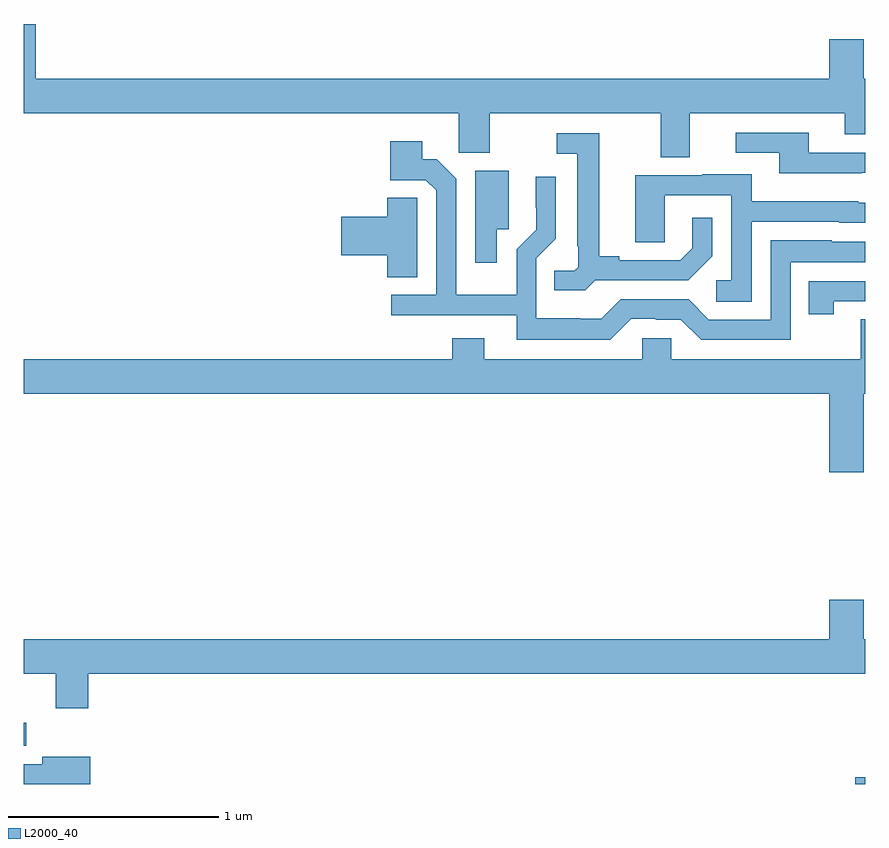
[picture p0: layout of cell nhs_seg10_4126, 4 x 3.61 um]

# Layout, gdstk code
import gdstk
lib = gdstk.Library(unit=1e-6, precision=1e-09)
def R(c, l, rs):  # rectangles x0, y0, x1, y1
    for r in rs: c.add(gdstk.rectangle(r[:2], r[2:], *l))
def P(c, l, *ps):  # polygons
    for p in ps: c.add(gdstk.Polygon(p, *l))
L2000_40 = (2000, 40)

nhs_seg10_4126 = lib.new_cell('nhs_seg10_4126')
R(nhs_seg10_4126, L2000_40, [(344.952,1258.5,345,1258.532), (341,1258.683,341.012,1258.791)])
P(nhs_seg10_4126, L2000_40, [(344.167,1261.688),(344.903,1261.688),(344.903,1261.589),(345,1261.589),(345,1261.852),(344.992,1261.852),(344.992,1262.041),(344.828,1262.041),(344.828,1261.852),(341.057,1261.852),(341.057,1262.113),(341,1262.113),(341,1261.688),(343.068,1261.688),(343.068,1261.501),(343.215,1261.501),(343.215,1261.688),(344.027,1261.688),(344.027,1261.48),(344.167,1261.48)],
  [(344.984,1261.406),(345,1261.406),(345,1261.5),(344.731,1261.5),(344.731,1261.596),(344.385,1261.596),(344.385,1261.5),(344.591,1261.5),(344.591,1261.403),(344.984,1261.403)],
  [(343.716,1260.894),(344.158,1260.894),(344.274,1261.01),(344.274,1261.192),(344.177,1261.192),(344.177,1261.047),(344.12,1260.99),(343.831,1260.99),(343.831,1261.01),(343.735,1261.01),(343.735,1261.593),(343.533,1261.593),(343.533,1261.497),(343.631,1261.497),(343.631,1261.057),(343.635,1261.057),(343.635,1260.957),(343.617,1260.939),(343.522,1260.939),(343.522,1260.847),(343.668,1260.847)],
  [(343.887,1260.711),(344.004,1260.711),(344.004,1260.708),(344.124,1260.708),(344.22,1260.612),(344.646,1260.612),(344.646,1260.981),(345,1260.981),(345,1261.077),(344.841,1261.077),(344.841,1261.084),(344.55,1261.084),(344.55,1260.708),(344.256,1260.708),(344.16,1260.804),(343.839,1260.804),(343.746,1260.711),(343.646,1260.711),(343.646,1260.715),(343.437,1260.715),(343.437,1260.999),(343.53,1261.092),(343.53,1261.387),(343.434,1261.387),(343.434,1261.24),(343.436,1261.24),(343.436,1261.134),(343.344,1261.042),(343.344,1260.826),(343.056,1260.826),(343.056,1261.377),(342.963,1261.47),(342.895,1261.47),(342.895,1261.555),(342.743,1261.555),(342.743,1261.371),(342.912,1261.371),(342.96,1261.323),(342.96,1260.825),(342.747,1260.825),(342.747,1260.729),(343.343,1260.729),(343.343,1260.611),(343.787,1260.611)],
  [(343.249,1261.137),(343.306,1261.137),(343.306,1261.416),(343.145,1261.416),(343.145,1260.978),(343.249,1260.978)],
  [(344.46,1261.173),(344.877,1261.173),(344.877,1261.167),(345,1261.167),(345,1261.263),(344.967,1261.263),(344.967,1261.27),(344.461,1261.27),(344.461,1261.399),(344.225,1261.399),(344.225,1261.395),(343.907,1261.395),(343.907,1261.075),(344.046,1261.075),(344.046,1261.299),(344.364,1261.299),(344.364,1260.894),(344.292,1260.894),(344.292,1260.793),(344.46,1260.793)],
  [(342.871,1261.178),(342.87,1261.178),(342.87,1261.286),(342.728,1261.286),(342.728,1261.196),(342.51,1261.196),(342.51,1261.013),(342.728,1261.013),(342.728,1260.91),(342.871,1260.91)],
  [(344.85,1260.795),(345,1260.795),(345,1260.891),(344.731,1260.891),(344.731,1260.732),(344.85,1260.732)],
  [(344.992,1260.356),(345,1260.356),(345,1260.71),(344.98,1260.71),(344.98,1260.52),(344.079,1260.52),(344.079,1260.618),(343.941,1260.618),(343.941,1260.52),(343.189,1260.52),(343.189,1260.619),(343.037,1260.619),(343.037,1260.52),(341,1260.52),(341,1260.356),(344.828,1260.356),(344.828,1259.982),(344.992,1259.982)],
  [(341.306,1259.024),(345,1259.024),(345,1259.188),(344.992,1259.188),(344.992,1259.377),(344.828,1259.377),(344.828,1259.188),(341,1259.188),(341,1259.024),(341.153,1259.024),(341.153,1258.86),(341.306,1258.86)],
  [(341.317,1258.63),(341.087,1258.63),(341.087,1258.594),(341,1258.594),(341,1258.5),(341.317,1258.5)])

lib.write_gds('nhs_seg10_4126.gds')
